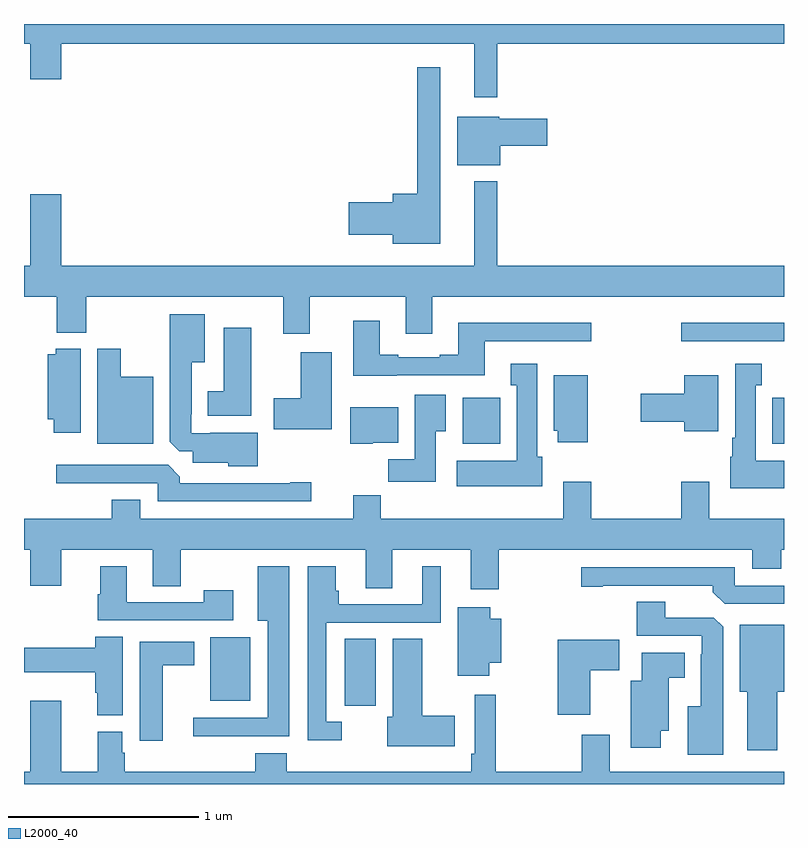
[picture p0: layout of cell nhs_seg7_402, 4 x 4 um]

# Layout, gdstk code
import gdstk
lib = gdstk.Library(unit=1e-6, precision=1e-09)
def R(c, l, rs):  # rectangles x0, y0, x1, y1
    for r in rs: c.add(gdstk.rectangle(r[:2], r[2:], *l))
def P(c, l, *ps):  # polygons
    for p in ps: c.add(gdstk.Polygon(p, *l))
L2000_40 = (2000, 40)

nhs_seg7_402 = lib.new_cell('nhs_seg7_402')
R(nhs_seg7_402, L2000_40, [(142.688,1050.411,142.852,1050.764), (141.98,1050.437,142.192,1050.772), (143.309,1051.79,143.506,1052.032), (144.938,1051.79,145,1052.032), (144.459,1052.331,145,1052.428)])
P(nhs_seg7_402, L2000_40, [(141,1053.896),(141.032,1053.896),(141.032,1053.708),(141.196,1053.708),(141.196,1053.896),(143.369,1053.896),(143.369,1053.615),(143.491,1053.615),(143.491,1053.896),(145,1053.896),(145,1054),(141,1054)],
  [(143.191,1053.772),(143.07,1053.772),(143.07,1053.106),(142.94,1053.106),(142.94,1053.062),(142.71,1053.062),(142.71,1052.891),(142.94,1052.891),(142.94,1052.843),(143.191,1052.843)],
  [(143.506,1053.359),(143.755,1053.359),(143.755,1053.501),(143.502,1053.501),(143.502,1053.511),(143.279,1053.511),(143.279,1053.257),(143.506,1053.257)],
  [(142.504,1052.564),(143.009,1052.564),(143.009,1052.37),(143.149,1052.37),(143.149,1052.564),(145,1052.564),(145,1052.728),(143.491,1052.728),(143.491,1053.172),(143.369,1053.172),(143.369,1052.728),(141.196,1052.728),(141.196,1053.103),(141.032,1053.103),(141.032,1052.728),(141,1052.728),(141,1052.564),(141.172,1052.564),(141.172,1052.375),(141.327,1052.375),(141.327,1052.564),(142.364,1052.564),(142.364,1052.37),(142.504,1052.37)],
  [(142.231,1051.849),(141.979,1051.849),(141.979,1051.845),(141.879,1051.845),(141.879,1051.945),(141.883,1051.945),(141.883,1052.219),(141.952,1052.219),(141.952,1052.473),(141.767,1052.473),(141.767,1051.801),(141.816,1051.752),(141.887,1051.752),(141.887,1051.691),(142.074,1051.691),(142.074,1051.673),(142.231,1051.673)],
  [(142.961,1052.151),(143.425,1052.151),(143.425,1052.331),(143.986,1052.331),(143.986,1052.428),(143.285,1052.428),(143.285,1052.26),(143.189,1052.26),(143.189,1052.247),(142.969,1052.247),(142.969,1052.26),(142.873,1052.26),(142.873,1052.437),(142.733,1052.437),(142.733,1052.15),(142.961,1052.15)],
  [(142.195,1052.401),(142.052,1052.401),(142.052,1052.068),(141.968,1052.068),(141.968,1051.937),(142.195,1051.937)],
  [(141.298,1052.29),(141.168,1052.29),(141.168,1052.263),(141.125,1052.263),(141.125,1051.919),(141.157,1051.919),(141.157,1051.848),(141.298,1051.848)],
  [(141.679,1052.143),(141.508,1052.143),(141.508,1052.29),(141.386,1052.29),(141.386,1051.79),(141.679,1051.79)],
  [(142.621,1052.272),(142.457,1052.272),(142.457,1052.031),(142.314,1052.031),(142.314,1051.868),(142.621,1051.868)],
  [(145,1051.702),(144.85,1051.702),(144.85,1052.099),(144.883,1052.099),(144.883,1052.212),(144.743,1052.212),(144.743,1051.822),(144.728,1051.822),(144.728,1051.722),(144.716,1051.722),(144.716,1051.556),(145,1051.556)],
  [(143.728,1051.722),(143.701,1051.722),(143.701,1052.212),(143.561,1052.212),(143.561,1052.099),(143.594,1052.099),(143.594,1051.702),(143.277,1051.702),(143.277,1051.568),(143.728,1051.568)],
  [(143.968,1052.152),(143.789,1052.152),(143.789,1051.86),(143.81,1051.86),(143.81,1051.8),(143.968,1051.8)],
  [(144.655,1052.152),(144.476,1052.152),(144.476,1052.054),(144.246,1052.054),(144.246,1051.907),(144.476,1051.907),(144.476,1051.856),(144.655,1051.856)],
  [(143.167,1051.856),(143.221,1051.856),(143.221,1052.05),(143.057,1052.05),(143.057,1051.708),(142.918,1051.708),(142.918,1051.59),(143.167,1051.59)],
  [(142.836,1051.796),(142.969,1051.796),(142.969,1051.984),(142.718,1051.984),(142.718,1051.79),(142.836,1051.79)],
  [(142.513,1051.589),(142.4,1051.589),(142.4,1051.584),(141.821,1051.584),(141.821,1051.618),(141.759,1051.68),(141.171,1051.68),(141.171,1051.584),(141.705,1051.584),(141.705,1051.488),(142.513,1051.488)],
  [(144.607,1051.591),(144.46,1051.591),(144.46,1051.396),(143.985,1051.396),(143.985,1051.591),(143.837,1051.591),(143.837,1051.396),(142.877,1051.396),(142.877,1051.52),(142.733,1051.52),(142.733,1051.396),(141.613,1051.396),(141.613,1051.495),(141.461,1051.495),(141.461,1051.396),(141,1051.396),(141,1051.232),(141.032,1051.232),(141.032,1051.044),(141.196,1051.044),(141.196,1051.232),(141.677,1051.232),(141.677,1051.042),(141.825,1051.042),(141.825,1051.232),(142.799,1051.232),(142.799,1051.03),(142.939,1051.03),(142.939,1051.232),(143.351,1051.232),(143.351,1051.026),(143.499,1051.026),(143.499,1051.232),(144.833,1051.232),(144.833,1051.133),(144.986,1051.133),(144.986,1051.232),(145,1051.232),(145,1051.396),(144.607,1051.396)],
  [(142.672,1050.327),(142.59,1050.327),(142.59,1050.849),(143.194,1050.849),(143.194,1051.147),(143.096,1051.147),(143.096,1050.945),(142.657,1050.945),(142.657,1051.017),(142.642,1051.017),(142.642,1051.147),(142.494,1051.147),(142.494,1050.23),(142.672,1050.23)],
  [(142.396,1051.147),(142.229,1051.147),(142.229,1050.86),(142.283,1050.86),(142.283,1050.348),(141.891,1050.348),(141.891,1050.251),(142.396,1050.251)],
  [(142.102,1051.021),(141.946,1051.021),(141.946,1050.957),(141.541,1050.957),(141.541,1051.147),(141.401,1051.147),(141.401,1050.999),(141.389,1050.999),(141.389,1050.861),(142.102,1050.861)],
  [(145,1051.044),(144.741,1051.044),(144.741,1051.14),(143.934,1051.14),(143.934,1051.039),(144.046,1051.039),(144.046,1051.044),(144.626,1051.044),(144.626,1051.01),(144.687,1050.948),(145,1050.948)],
  [(144.679,1050.827),(144.63,1050.876),(144.376,1050.876),(144.376,1050.959),(144.224,1050.959),(144.224,1050.78),(144.567,1050.78),(144.567,1050.683),(144.563,1050.683),(144.563,1050.409),(144.494,1050.409),(144.494,1050.155),(144.679,1050.155)],
  [(143.448,1050.638),(143.512,1050.638),(143.512,1050.871),(143.453,1050.871),(143.453,1050.931),(143.282,1050.931),(143.282,1050.57),(143.448,1050.57)],
  [(144.964,1050.485),(145,1050.485),(145,1050.838),(144.767,1050.838),(144.767,1050.485),(144.806,1050.485),(144.806,1050.177),(144.964,1050.177)],
  [(141.52,1050.776),(141.374,1050.776),(141.374,1050.717),(141,1050.717),(141,1050.587),(141.374,1050.587),(141.374,1050.479),(141.386,1050.479),(141.386,1050.361),(141.52,1050.361)],
  [(143.266,1050.358),(143.095,1050.358),(143.095,1050.764),(142.94,1050.764),(142.94,1050.354),(142.913,1050.354),(142.913,1050.2),(143.266,1050.2)],
  [(143.98,1050.598),(144.133,1050.598),(144.133,1050.76),(143.81,1050.76),(143.81,1050.365),(143.98,1050.365)],
  [(141.73,1050.626),(141.895,1050.626),(141.895,1050.748),(141.608,1050.748),(141.608,1050.228),(141.73,1050.228)],
  [(144.352,1050.281),(144.394,1050.281),(144.394,1050.56),(144.478,1050.56),(144.478,1050.691),(144.251,1050.691),(144.251,1050.544),(144.194,1050.544),(144.194,1050.192),(144.352,1050.192)],
  [(145,1050.064),(144.082,1050.064),(144.082,1050.259),(143.935,1050.259),(143.935,1050.064),(143.482,1050.064),(143.482,1050.469),(143.373,1050.469),(143.373,1050.16),(143.353,1050.16),(143.353,1050.064),(142.382,1050.064),(142.382,1050.163),(142.217,1050.163),(142.217,1050.064),(141.53,1050.064),(141.53,1050.165),(141.517,1050.165),(141.517,1050.276),(141.389,1050.276),(141.389,1050.064),(141.196,1050.064),(141.196,1050.439),(141.032,1050.439),(141.032,1050.064),(141,1050.064),(141,1050),(145,1050)])

lib.write_gds('nhs_seg7_402.gds')
